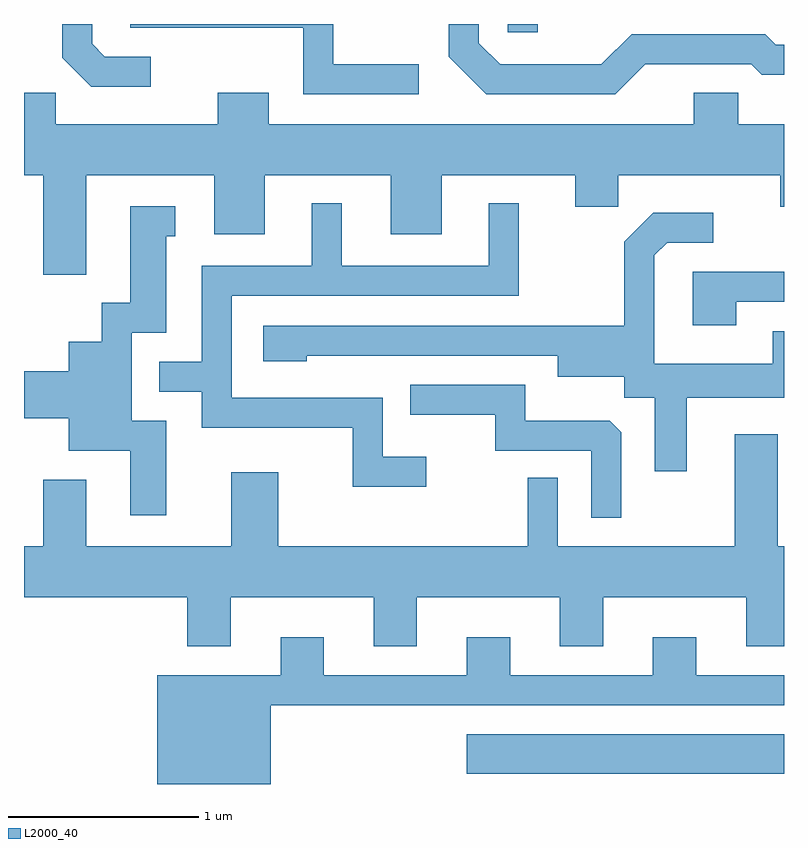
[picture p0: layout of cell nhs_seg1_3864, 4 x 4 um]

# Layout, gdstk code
import gdstk
lib = gdstk.Library(unit=1e-6, precision=1e-09)
def R(c, l, rs):  # rectangles x0, y0, x1, y1
    for r in rs: c.add(gdstk.rectangle(r[:2], r[2:], *l))
def P(c, l, *ps):  # polygons
    for p in ps: c.add(gdstk.Polygon(p, *l))
L2000_40 = (2000, 40)

nhs_seg1_3864 = lib.new_cell('nhs_seg1_3864')
R(nhs_seg1_3864, L2000_40, [(303.941,889.766,305.611,889.974), (304.156,893.668,304.314,893.712)])
P(nhs_seg1_3864, L2000_40, [(303.688,893.499),(303.239,893.499),(303.239,893.712),(302.171,893.712),(302.171,893.691),(303.081,893.691),(303.081,893.341),(303.688,893.341)],
  [(304.882,893.501),(305.439,893.501),(305.494,893.446),(305.611,893.446),(305.611,893.604),(305.567,893.604),(305.512,893.659),(304.809,893.659),(304.649,893.499),(304.117,893.499),(304.004,893.612),(304.004,893.712),(303.846,893.712),(303.846,893.539),(304.044,893.341),(304.722,893.341)],
  [(302.278,893.539),(302.037,893.539),(301.969,893.607),(301.969,893.712),(301.811,893.712),(301.811,893.534),(301.964,893.381),(302.278,893.381)],
  [(301.939,892.916),(302.611,892.916),(302.611,892.606),(302.879,892.606),(302.879,892.916),(303.541,892.916),(303.541,892.606),(303.809,892.606),(303.809,892.916),(304.511,892.916),(304.511,892.751),(304.739,892.751),(304.739,892.916),(305.591,892.916),(305.591,892.751),(305.611,892.751),(305.611,893.184),(305.369,893.184),(305.369,893.349),(305.136,893.349),(305.136,893.184),(302.899,893.184),(302.899,893.349),(302.631,893.349),(302.631,893.184),(301.779,893.184),(301.779,893.349),(301.611,893.349),(301.611,892.916),(301.711,892.916),(301.711,892.391),(301.939,892.391)],
  [(303.728,891.434),(303.499,891.434),(303.499,891.744),(302.704,891.744),(302.704,892.281),(304.214,892.281),(304.214,892.768),(304.056,892.768),(304.056,892.439),(303.284,892.439),(303.284,892.768),(303.126,892.768),(303.126,892.439),(302.546,892.439),(302.546,891.934),(302.323,891.934),(302.323,891.776),(302.546,891.776),(302.546,891.586),(303.341,891.586),(303.341,891.276),(303.728,891.276)],
  [(302.359,891.624),(302.179,891.624),(302.179,892.086),(302.359,892.086),(302.359,892.596),(302.408,892.596),(302.408,892.754),(302.171,892.754),(302.171,892.244),(302.021,892.244),(302.021,892.039),(301.846,892.039),(301.846,891.884),(301.611,891.884),(301.611,891.636),(301.846,891.636),(301.846,891.466),(302.171,891.466),(302.171,891.126),(302.359,891.126)],
  [(305.099,891.746),(305.611,891.746),(305.611,892.094),(305.551,892.094),(305.551,891.924),(304.929,891.924),(304.929,892.494),(304.997,892.561),(305.238,892.561),(305.238,892.719),(304.924,892.719),(304.771,892.567),(304.771,892.124),(302.871,892.124),(302.871,891.936),(303.099,891.936),(303.099,891.966),(304.421,891.966),(304.421,891.856),(304.771,891.856),(304.771,891.746),(304.931,891.746),(304.931,891.358),(305.099,891.358)],
  [(305.359,892.251),(305.611,892.251),(305.611,892.409),(305.131,892.409),(305.131,892.126),(305.359,892.126)],
  [(304.754,891.564),(304.694,891.624),(304.249,891.624),(304.249,891.814),(303.643,891.814),(303.643,891.656),(304.091,891.656),(304.091,891.466),(304.596,891.466),(304.596,891.113),(304.754,891.113)],
  [(302.699,890.696),(303.451,890.696),(303.451,890.436),(303.679,890.436),(303.679,890.696),(304.431,890.696),(304.431,890.436),(304.659,890.436),(304.659,890.696),(305.411,890.696),(305.411,890.436),(305.611,890.436),(305.611,890.964),(305.579,890.964),(305.579,891.554),(305.351,891.554),(305.351,890.964),(304.419,890.964),(304.419,891.323),(304.261,891.323),(304.261,890.964),(302.949,890.964),(302.949,891.354),(302.701,891.354),(302.701,890.964),(301.939,890.964),(301.939,891.314),(301.711,891.314),(301.711,890.964),(301.611,890.964),(301.611,890.696),(302.471,890.696),(302.471,890.436),(302.699,890.436)],
  [(302.909,890.126),(305.611,890.126),(305.611,890.284),(305.149,890.284),(305.149,890.484),(304.921,890.484),(304.921,890.284),(304.169,890.284),(304.169,890.484),(303.941,890.484),(303.941,890.284),(303.189,890.284),(303.189,890.484),(302.961,890.484),(302.961,890.284),(302.311,890.284),(302.311,889.712),(302.909,889.712)])

lib.write_gds('nhs_seg1_3864.gds')
